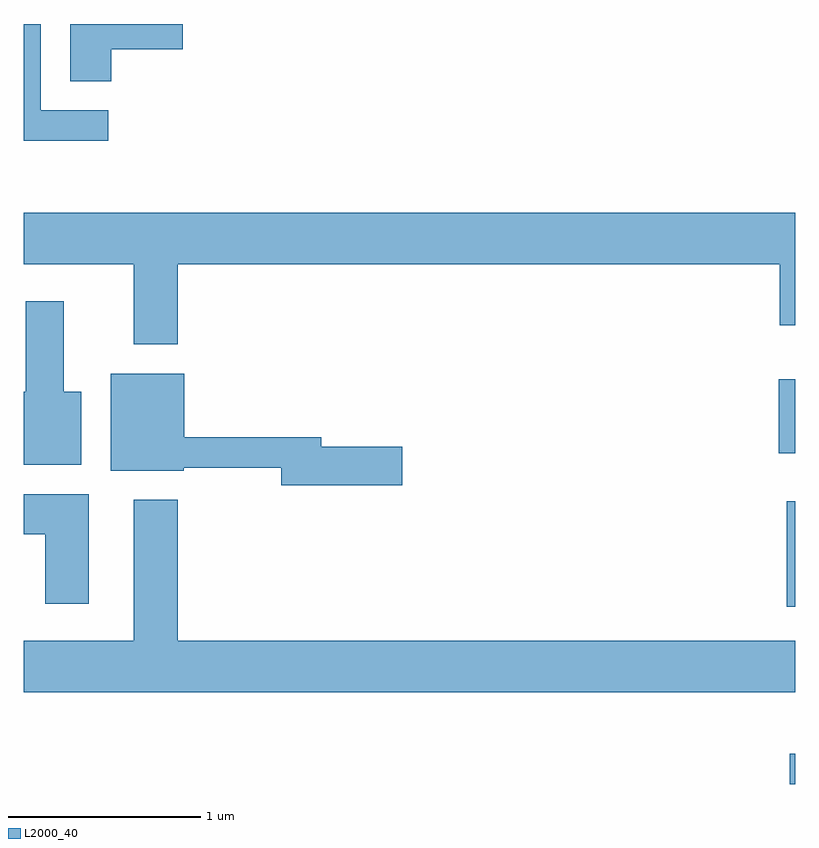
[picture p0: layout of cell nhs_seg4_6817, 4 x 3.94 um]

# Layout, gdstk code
import gdstk
lib = gdstk.Library(unit=1e-6, precision=1e-09)
def R(c, l, rs):  # rectangles x0, y0, x1, y1
    for r in rs: c.add(gdstk.rectangle(r[:2], r[2:], *l))
def P(c, l, *ps):  # polygons
    for p in ps: c.add(gdstk.Polygon(p, *l))
L2000_40 = (2000, 40)

nhs_seg4_6817 = lib.new_cell('nhs_seg4_6817')
R(nhs_seg4_6817, L2000_40, [(389.583,1292.041,389.611,1292.199), (389.566,1292.961,389.611,1293.508), (389.526,1293.756,389.611,1294.139)])
P(nhs_seg4_6817, L2000_40, [(386.048,1295.534),(385.699,1295.534),(385.699,1295.982),(385.611,1295.982),(385.611,1295.376),(386.048,1295.376)],
  [(386.064,1295.851),(386.434,1295.851),(386.434,1295.982),(385.851,1295.982),(385.851,1295.686),(386.064,1295.686)],
  [(386.409,1294.736),(389.531,1294.736),(389.531,1294.421),(389.611,1294.421),(389.611,1295.004),(385.611,1295.004),(385.611,1294.736),(386.181,1294.736),(386.181,1294.321),(386.409,1294.321)],
  [(385.909,1294.074),(385.819,1294.074),(385.819,1294.544),(385.621,1294.544),(385.621,1294.074),(385.611,1294.074),(385.611,1293.696),(385.909,1293.696)],
  [(387.574,1293.789),(387.154,1293.789),(387.154,1293.839),(386.444,1293.839),(386.444,1294.169),(386.061,1294.169),(386.061,1293.666),(386.44,1293.666),(386.44,1293.681),(386.946,1293.681),(386.946,1293.591),(387.574,1293.591)],
  [(385.949,1293.544),(385.611,1293.544),(385.611,1293.336),(385.721,1293.336),(385.721,1292.976),(385.949,1292.976)],
  [(389.611,1292.784),(386.409,1292.784),(386.409,1293.514),(386.181,1293.514),(386.181,1292.784),(385.611,1292.784),(385.611,1292.516),(389.611,1292.516)])

lib.write_gds('nhs_seg4_6817.gds')
